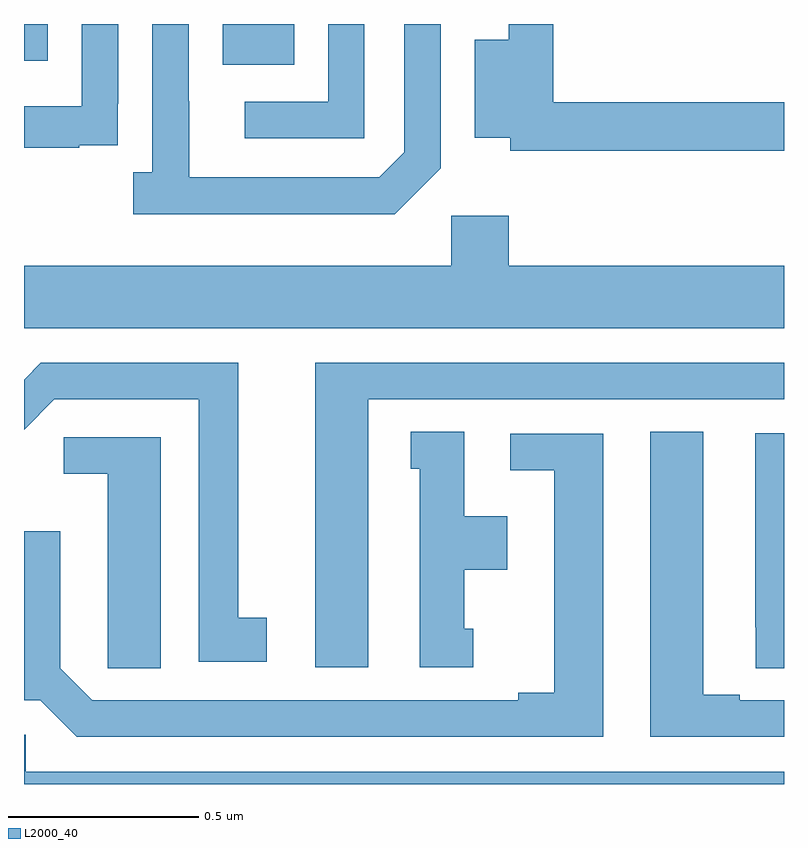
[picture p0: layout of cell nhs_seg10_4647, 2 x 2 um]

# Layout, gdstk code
import gdstk
lib = gdstk.Library(unit=1e-6, precision=1e-09)
def R(c, l, rs):  # rectangles x0, y0, x1, y1
    for r in rs: c.add(gdstk.rectangle(r[:2], r[2:], *l))
def P(c, l, *ps):  # polygons
    for p in ps: c.add(gdstk.Polygon(p, *l))
L2000_40 = (2000, 40)

nhs_seg10_4647 = lib.new_cell('nhs_seg10_4647')
R(nhs_seg10_4647, L2000_40, [(169.523,1250.393,169.711,1250.5), (169,1250.403,169.063,1250.5)])
P(nhs_seg10_4647, L2000_40, [(171,1250.294),(170.393,1250.294),(170.393,1250.5),(170.276,1250.5),(170.276,1250.458),(170.186,1250.458),(170.186,1250.201),(170.28,1250.201),(170.28,1250.166),(171,1250.166)],
  [(170.097,1250.121),(170.097,1250.5),(170.001,1250.5),(170.001,1250.163),(169.935,1250.097),(169.435,1250.097),(169.435,1250.297),(169.434,1250.297),(169.434,1250.5),(169.338,1250.5),(169.338,1250.11),(169.287,1250.11),(169.287,1250),(169.976,1250)],
  [(169.145,1250.181),(169.247,1250.181),(169.247,1250.29),(169.248,1250.29),(169.248,1250.5),(169.152,1250.5),(169.152,1250.283),(169,1250.283),(169,1250.175),(169.145,1250.175)],
  [(169.896,1250.5),(169.8,1250.5),(169.8,1250.295),(169.581,1250.295),(169.581,1250.199),(169.896,1250.199)],
  [(171,1249.864),(170.276,1249.864),(170.276,1249.996),(170.124,1249.996),(170.124,1249.864),(169,1249.864),(169,1249.7),(171,1249.7)],
  [(169.639,1248.938),(169.564,1248.938),(169.564,1249.608),(169.044,1249.608),(169,1249.564),(169,1249.432),(169.08,1249.512),(169.46,1249.512),(169.46,1248.822),(169.639,1248.822)],
  [(169.906,1249.512),(171,1249.512),(171,1249.608),(169.766,1249.608),(169.766,1248.807),(169.906,1248.807)],
  [(171,1248.72),(170.884,1248.72),(170.884,1248.735),(170.788,1248.735),(170.788,1249.427),(170.648,1249.427),(170.648,1248.624),(171,1248.624)],
  [(170.182,1248.909),(170.158,1248.909),(170.158,1249.064),(170.272,1249.064),(170.272,1249.204),(170.158,1249.204),(170.158,1249.427),(170.018,1249.427),(170.018,1249.329),(170.042,1249.329),(170.042,1248.807),(170.182,1248.807)],
  [(171,1249.423),(170.924,1249.423),(170.924,1248.913),(170.925,1248.913),(170.925,1248.805),(171,1248.805)],
  [(170.524,1249.422),(170.28,1249.422),(170.28,1249.326),(170.396,1249.326),(170.396,1248.74),(170.3,1248.74),(170.3,1248.72),(169.179,1248.72),(169.095,1248.804),(169.095,1249.165),(169,1249.165),(169,1248.72),(169.043,1248.72),(169.139,1248.624),(170.524,1248.624)],
  [(169.36,1249.413),(169.104,1249.413),(169.104,1249.316),(169.22,1249.316),(169.22,1248.913),(169.221,1248.913),(169.221,1248.805),(169.36,1248.805)],
  [(171,1248.532),(169.005,1248.532),(169.005,1248.63),(169,1248.63),(169,1248.5),(171,1248.5)])

lib.write_gds('nhs_seg10_4647.gds')
